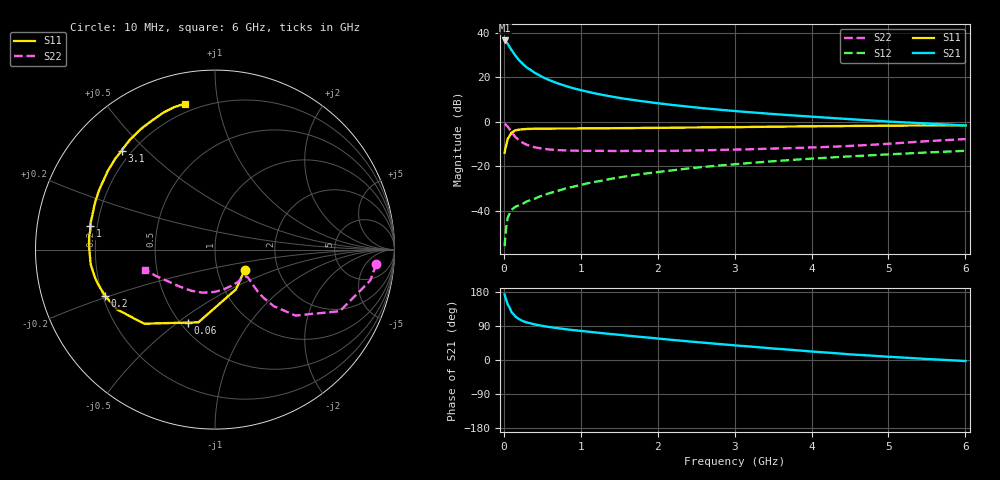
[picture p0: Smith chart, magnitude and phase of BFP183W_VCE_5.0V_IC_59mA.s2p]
! (c) 2017  Infineon Technologies AG, Munich
! Infineon Technologies  Discrete & RF Semiconductors
! BFP183W
! VCE =  5.0 V,  IC =  59 mA
! Common Emitter S-Parameters:  Jan 2017
# GHz  S  MA  R  50
!  f  S11  S21  S12  S22
! GHz  MAG  ANG  MAG  ANG  MAG  ANG  MAG  ANG
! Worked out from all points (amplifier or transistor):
!   77 points, 10 MHz to 6 GHz, reference 50 ohm
!   highest |S21| = 36.5 dB at 10 MHz (marker M1)
!   |S21| within 3 dB of that: start of sweep to 76.34 MHz
!   unconditionally stable (mu >= 1): 474.8 MHz to 3.497 GHz
!   at 130 MHz: K = 0.48, MSG = 34.7 dB, |S12| = -38.7 dB
!   at 2.2 GHz: K = 1.12, MAG = 12.5 dB, |S12| = -21.8 dB
!   at 6 GHz: K = 0.87, MSG = 5.7 dB, |S12| = -13.1 dB
!   S11 on the Smith chart (normalised r, x): 10 MHz: 1.35, -0.32; 60 MHz: 0.54, -0.54; 200 MHz: 0.21, -0.19; 1 GHz: 0.17, +0.09; 3.1 GHz: 0.16, +0.42; 6 GHz: 0.15, +0.80
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0.01  0.2001 -34.4  66.89 173.1  0.0016 84.8  0.9019 -5.1
0.02  0.2504 -62.2  65.17 165.3  0.0028 78.6  0.8826 -11.2
0.05  0.4158 -102.9  56.33 146.4  0.0069 66.0  0.7757 -26.2
0.06  0.4347 -110.6  52.77 143.3  0.0076 63.2  0.7341 -28.3
0.1  0.5712 -133.7  40.73 125.9  0.0105 55.7  0.5807 -39.3
0.15  0.639 -148.5  30.44 114.8  0.0123 48.4  0.4537 -43.9
0.2  0.6641 -157.1  23.87 107.5  0.0133 49.4  0.38 -44.8
0.25  0.6784 -163.0  19.55 102.5  0.0145 50.6  0.3332 -44.4
0.3  0.6875 -167.2  16.48 99.0  0.0163 53.2  0.3022 -43.4
0.4  0.6974 -173.3  12.59 93.7  0.0186 56.8  0.2667 -41.7
0.5  0.698 -177.4  10.11 90.0  0.022 60.6  0.2483 -40.7
0.6  0.7007 179.3  8.47 86.8  0.025 61.3  0.237 -40.3
0.7  0.7029 176.5  7.268 84.1  0.0279 64.6  0.2299 -40.3
0.8  0.7051 173.7  6.38 81.3  0.0316 67.1  0.2271 -41.1
1  0.7076 169.2  5.123 76.8  0.0382 67.8  0.222 -43.5
1.1  0.7092 167.0  4.664 74.7  0.0416 68.2  0.222 -44.9
1.5  0.7159 159.4  3.435 66.5  0.0559 68.6  0.2196 -52.4
2.1  0.7303 148.7  2.484 54.8  0.0776 67.4  0.2215 -67.0
3.1  0.7586 133.3  1.685 37.1  0.1144 62.1  0.2384 -95.3
4.1  0.7912 120.0  1.265 21.0  0.1518 55.4  0.2675 -122.9
5.1  0.8174 109.6  0.988 7.4  0.1884 48.1  0.3281 -149.2
6  0.8299 101.8  0.822 -2.8  0.2221 41.1  0.4073 -164.2
